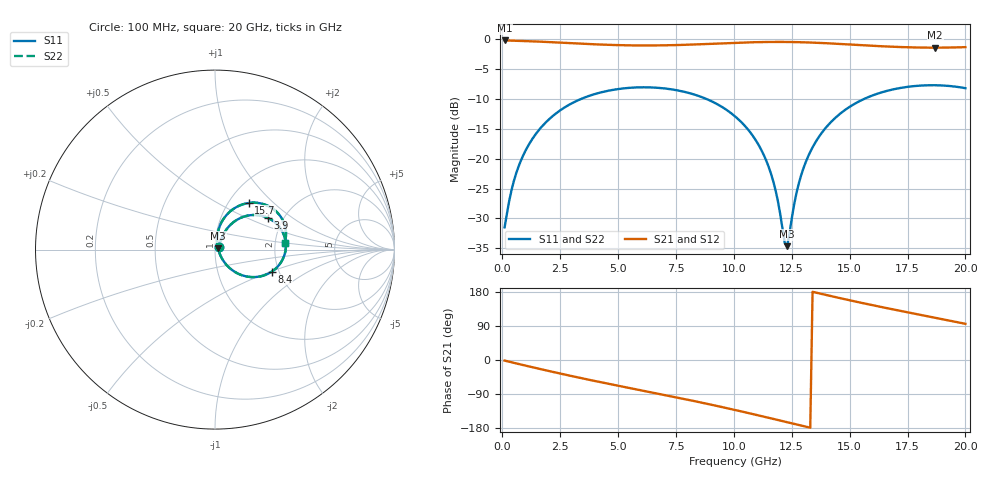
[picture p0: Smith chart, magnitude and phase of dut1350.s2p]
! Touchstone file exported from HFSS 2026.1.0
!  File:  C:/ffzhzh/LocalFiles/Ansys_Project_Files/temp_train_TSV_RDL_1350_1783340482_38704.aedt
!  Generated:  08:31:37 PM Jul  6, 2026
!  Design:  TSV_RDL
!  Project:  temp_train_TSV_RDL_1350_1783340482_38704
! Variables:
!  h_bsmrdl = 2.47um
!  h_ox = 20um
!  h_rdl = 5um
!  h_sub = 93.36um
!  h_tmrdl = 4.92um
!  h_tsv = 93.36um
!  h_via = 3um
!  l_bsmrdl = 565.04um
!  l_sub = 4026.62um
!  l_tmrdl = 456.61um
!  m_sub = 200um
!  pitch = 38.98um
!  r_tsv = 12.25um
!  s_tmrdl = 10um
!  w_bsmrdl = 24.86um
!  w_sub = 500um
!  w_tmrdl = 10.16um
!  x_tsv_center1 = 461.69um
!  x_tsv_center2 = 1051.59um
!  x_tsv_center3 = 1518.36um
!  x_tsv_center4 = 2108.26um
!  x_tsv_center5 = 2575.03um
!  x_tsv_center6 = 3164.93um
# GHz S MA R 50.000000
! Terminal data exported
! Port[1] = TM_RDL1_1_T1
! Port[2] = TM_RDL5_1_T1
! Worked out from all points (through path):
!   200 points, 100 MHz to 20 GHz, reference 50 ohm
!   highest |S21| = -0.21 dB at 100 MHz (marker M1); lowest = -1.4 dB at 18.7 GHz (marker M2)
!   group delay of S21, straight-line fit = 36.9 ps
!   lowest |S11| = -34.6 dB at 12.3 GHz (marker M3), VSWR 1.04, Z = 51.7 + j0.79 ohm
!   |S11| at or under -10 dB: start of sweep to 3.402 GHz; 8.814 GHz to 15.63 GHz (6.812 GHz wide, 55.7 % of centre)
!   |S22| runs from -34.9 to -7.7 dB; largest |S21 - S12| = 2.1e-14
!   S11 on the Smith chart (normalised r, x): 100 MHz: 1.05, +0.03; 3.9 GHz: 1.67, +0.67; 8.4 GHz: 1.83, -0.51; 15.7 GHz: 1.24, +0.72; 20 GHz: 2.25, +0.19
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0.1  0.02664 26.7  0.9764 -1.5  0.9764 -1.5  0.02664 26.7
! Gamma 0 0 0 0
! Port Impedance 50 0 50 0
0.5  0.06509 58.3  0.9716 -7.5  0.9716 -7.5  0.06509 58.3
1.2  0.1365 60.0  0.9617 -17.7  0.9617 -17.7  0.1365 60.0
2.2  0.2294 50.8  0.943 -31.7  0.943 -31.7  0.2294 50.8
3.5  0.3219 35.7  0.9157 -49.0  0.9157 -49.0  0.3219 35.7
3.9  0.343 31.0  0.9081 -54.1  0.9081 -54.1  0.343 31.0
5.4  0.3905 13.6  0.889 -72.8  0.889 -72.8  0.3906 13.6
6.8  0.3909 -2.5  0.8878 -89.8  0.8878 -89.8  0.3909 -2.5
8.4  0.339 -21.3  0.9051 -109.8  0.9051 -109.8  0.339 -21.3
10.1  0.222 -41.6  0.9334 -132.5  0.9334 -132.5  0.222 -41.7
10.8  0.1572 -49.2  0.9429 -142.4  0.9429 -142.4  0.1572 -49.4
11.4  0.09627 -53.3  0.9479 -151.0  0.9479 -151.0  0.09626 -53.6
11.8  0.05455 -50.4  0.9493 -156.8  0.9493 -156.8  0.05448 -50.8
12.2  0.01963 -7.8  0.9488 -162.7  0.9488 -162.7  0.01926 -8.5
12.3  0.01852 24.3  0.9484 -164.1  0.9484 -164.1  0.01809 24.4
12.8  0.06147 78.8  0.9447 -171.4  0.9447 -171.4  0.06128 79.2
13.4  0.1244 79.2  0.9368 179.9  0.9368 179.9  0.1242 79.4
14.4  0.2214 69.3  0.9172 165.8  0.9172 165.8  0.2213 69.4
15.7  0.321 54.0  0.8873 148.4  0.8873 148.4  0.3209 54.1
16.7  0.3733 42.4  0.8674 135.7  0.8674 135.7  0.3732 42.4
18.7  0.4119 19.8  0.8499 111.4  0.8499 111.4  0.4118 19.8
20  0.3891 5.2  0.8583 95.5  0.8583 95.5  0.389 5.2
